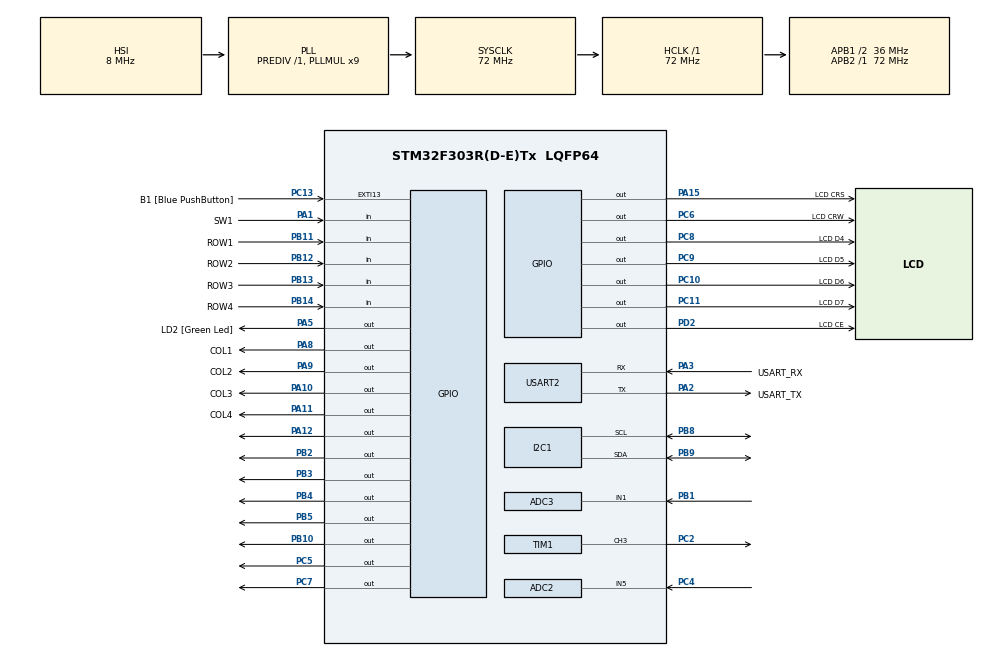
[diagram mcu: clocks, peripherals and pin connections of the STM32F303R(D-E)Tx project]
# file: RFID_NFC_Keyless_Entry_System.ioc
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ADC2.AWD1HighThreshold=4095
ADC2.AWD1ITMode=ENABLE
ADC2.AWD1LowThreshold=400
ADC2.Channel-0\#ChannelRegularConversion=ADC_CHANNEL_5
ADC2.ContinuousConvMode=ENABLE
ADC2.EnableAnalogWatchDog1=true
ADC2.NbrOfConversionFlag=1
ADC2.Offset-0\#ChannelRegularConversion=0
ADC2.OffsetNumber-0\#ChannelRegularConversion=ADC_OFFSET_NONE
ADC2.Rank-0\#ChannelRegularConversion=1
ADC2.SamplingTime-0\#ChannelRegularConversion=ADC_SAMPLETIME_1CYCLE_5
ADC2.SamplingTimeOPAMP-0\#ChannelRegularConversion=ADC_SAMPLETIME_61CYCLES_5
ADC2.WatchdogChannel=ADC_CHANNEL_5
ADC3.AWD1HighThreshold=4095
ADC3.AWD1ITMode=ENABLE
ADC3.AWD1LowThreshold=400
ADC3.Channel-0\#ChannelRegularConversion=ADC_CHANNEL_1
ADC3.ContinuousConvMode=ENABLE
ADC3.EnableAnalogWatchDog1=true
ADC3.EnableAnalogWatchDog2=false
ADC3.NbrOfConversionFlag=1
ADC3.Offset-0\#ChannelRegularConversion=0
ADC3.OffsetNumber-0\#ChannelRegularConversion=ADC_OFFSET_NONE
ADC3.Rank-0\#ChannelRegularConversion=1
ADC3.SamplingTime-0\#ChannelRegularConversion=ADC_SAMPLETIME_1CYCLE_5
ADC3.SamplingTimeOPAMP-0\#ChannelRegularConversion=ADC_SAMPLETIME_61CYCLES_5
ADC3.master=1
I2C1.Timing=0x00201D2B
Mcu.Family=STM32F3
Mcu.Name=STM32F303R(D-E)Tx
Mcu.Package=LQFP64
NVIC.ADC1_2_IRQn=true\:0\:0\:false\:false\:true\:true\:true\:true
NVIC.ADC3_IRQn=true\:0\:0\:false\:false\:true\:true\:true\:true
NVIC.PriorityGroup=NVIC_PRIORITYGROUP_0
PA1.GPIO_Label=SW1
PA1.Signal=GPIO_Input
PA10.GPIO_Label=COL3
PA10.Signal=GPIO_Output
PA11.GPIO_Label=COL4
PA11.GPIO_PuPd=GPIO_NOPULL
PA11.Signal=GPIO_Output
PA12.GPIO_PuPd=GPIO_NOPULL
PA12.Signal=GPIO_Output
PA13.GPIO_Label=TMS
PA13.Mode=Serial_Wire
PA13.Signal=SYS_JTMS-SWDIO
PA14.GPIO_Label=TCK
PA14.Mode=Serial_Wire
PA14.Signal=SYS_JTCK-SWCLK
PA15.GPIO_Label=LCD CRS
PA15.Signal=GPIO_Output
PA2.GPIO_Label=USART_TX
PA2.GPIO_Mode=GPIO_MODE_AF_PP
PA2.GPIO_PuPd=GPIO_NOPULL
PA2.GPIO_Speed=GPIO_SPEED_FREQ_LOW
PA2.Mode=Asynchronous
PA2.Signal=USART2_TX
PA3.GPIO_Label=USART_RX
PA3.GPIO_Mode=GPIO_MODE_AF_PP
PA3.GPIO_PuPd=GPIO_NOPULL
PA3.GPIO_Speed=GPIO_SPEED_FREQ_LOW
PA3.Mode=Asynchronous
PA3.Signal=USART2_RX
PA5.GPIO_Label=LD2 [Green Led]
PA5.GPIO_Mode=GPIO_MODE_OUTPUT_PP
PA5.GPIO_PuPd=GPIO_NOPULL
PA5.GPIO_Speed=GPIO_SPEED_FREQ_LOW
PA5.Signal=GPIO_Output
PA8.GPIO_Label=COL1
PA8.Signal=GPIO_Output
PA9.GPIO_Label=COL2
PA9.Signal=GPIO_Output
PB1.Mode=IN1-Single-Ended
PB1.Signal=ADC3_IN1
PB10.Signal=GPIO_Output
PB11.GPIO_Label=ROW1
PB11.GPIO_PuPd=GPIO_PULLDOWN
PB11.Signal=GPIO_Input
PB12.GPIO_Label=ROW2
PB12.GPIO_PuPd=GPIO_PULLDOWN
PB12.Signal=GPIO_Input
PB13.GPIO_Label=ROW3
PB13.GPIO_PuPd=GPIO_PULLDOWN
PB13.Signal=GPIO_Input
PB14.GPIO_Label=ROW4
PB14.GPIO_PuPd=GPIO_PULLDOWN
PB14.Signal=GPIO_Input
PB2.Signal=GPIO_Output
PB3.Signal=GPIO_Output
PB4.Signal=GPIO_Output
PB5.Signal=GPIO_Output
PB8.Mode=I2C
PB8.Signal=I2C1_SCL
PB9.Mode=I2C
PB9.Signal=I2C1_SDA
PC10.GPIO_Label=LCD D6
PC10.Signal=GPIO_Output
PC11.GPIO_Label=LCD D7
PC11.Signal=GPIO_Output
PC13.GPIO_Label=B1 [Blue PushButton]
PC13.GPIO_ModeDefaultEXTI=GPIO_MODE_IT_FALLING
PC13.Signal=GPXTI13
PC14-OSC32_IN.Mode=LSE-External-Oscillator
PC14-OSC32_IN.Signal=RCC_OSC32_IN
PC15-OSC32_OUT.Mode=LSE-External-Oscillator
PC15-OSC32_OUT.Signal=RCC_OSC32_OUT
PC2.Signal=S_TIM1_CH3
PC4.Mode=IN5-Single-Ended
PC4.Signal=ADC2_IN5
PC5.Signal=GPIO_Output
PC6.GPIO_Label=LCD CRW
PC6.Signal=GPIO_Output
PC7.Signal=GPIO_Output
PC8.GPIO_Label=LCD D4
PC8.Signal=GPIO_Output
PC9.GPIO_Label=LCD D5
PC9.Signal=GPIO_Output
PD2.GPIO_Label=LCD CE
PD2.Signal=GPIO_Output
PF0-OSC_IN.Mode=HSE-External-Clock-Source
PF0-OSC_IN.Signal=RCC_OSC_IN
PF1-OSC_OUT.Signal=RCC_OSC_OUT
ProjectManager.HeapSize=0x200
ProjectManager.StackSize=0x400
ProjectManager.TargetToolchain=STM32CubeIDE
RCC.AHBFreq_Value=72000000
RCC.APB1CLKDivider=RCC_HCLK_DIV2
RCC.APB1Freq_Value=36000000
RCC.APB1TimFreq_Value=72000000
RCC.APB2Freq_Value=72000000
RCC.APB2TimFreq_Value=72000000
RCC.CortexFreq_Value=72000000
RCC.HCLKFreq_Value=72000000
RCC.HSE_VALUE=8000000
RCC.HSI_VALUE=8000000
RCC.PLLM=8
RCC.PLLMUL=RCC_PLL_MUL9
RCC.PLLN=336
RCC.PLLP=RCC_PLLP_DIV4
RCC.PLLQ=7
RCC.RCC_PLLsource_Clock_Source_FROM_HSE=RCC_HSE_PREDIV_DIV2
RCC.SYSCLKFreq_VALUE=72000000
RCC.SYSCLKSourceVirtual=RCC_SYSCLKSOURCE_PLLCLK
RCC.USBFreq_Value=72000000
SH.S_TIM1_CH3.0=TIM1_CH3,PWM Generation3 CH3
TIM1.Channel-PWM\ Generation3\ CH3=TIM_CHANNEL_3
TIM1.Period=499
TIM1.Prescaler=71
TIM1.Pulse-PWM\ Generation3\ CH3=250
USART2.VirtualMode-Asynchronous=VM_ASYNC
VP_TIM1_VS_ClockSourceINT.Mode=Internal
board=NUCLEO-F303RE

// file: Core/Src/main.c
/* USER CODE BEGIN Header */
/**
  ******************************************************************************
  * @file           : main.c
  * @brief          : Main program body
  ******************************************************************************
  * @attention
  *
  * Copyright (c) 2026 STMicroelectronics.
  * All rights reserved.
  *
  * This software is licensed under terms that can be found in the LICENSE file
  * in the root directory of this software component.
  * If no LICENSE file comes with this software, it is provided AS-IS.
  *
  ******************************************************************************
  */
/* USER CODE END Header */
#include "main.h"

/* USER CODE BEGIN Includes */
#include "keypad.h"
#include "lcd.h"
#include "coast.h"
#include "debounce.h"
#include "pn532.h"
#include "access_control.h"
#include "admin_menu.h"
#include "door_control.h"
#include "management_config.h"
#include <stdio.h>
#include "signalling.h"
#include "door.h"
#include "ldr.h"
#include "clock.h"
#include "schedule.h"
/* USER CODE END Includes */

/* USER CODE BEGIN PTD */

typedef enum {
	OVERRIDE_TRANSIT_NONE = 0,
	OVERRIDE_TRANSIT_FROM_OUTSIDE,
	OVERRIDE_TRANSIT_FROM_INSIDE
} OverrideTransitDirection_t;

/* USER CODE END PTD */

/* USER CODE BEGIN PD */

#define LDR_COVERED_THRESHOLD 400U

/* USER CODE END PD */

ADC_HandleTypeDef hadc2;
ADC_HandleTypeDef hadc3;

I2C_HandleTypeDef hi2c1;

TIM_HandleTypeDef htim1;

UART_HandleTypeDef huart2;

/* USER CODE BEGIN PV */
uint8_t cardUID[10];
uint8_t cardUIDLength;
bool cardWasPresent;
volatile bool ldr1_covered = false; // Flag for ADC3 Watchdog
volatile bool ldr2_covered = false; // Flag for ADC2 Watchdog

volatile int entry_in_progress = 0;
volatile int exit_in_progress = 0;
volatile bool pending_authorized_entry = false;
static OverrideTransitDirection_t overrideTransitDirection = OVERRIDE_TRANSIT_NONE;
static bool overrideLdr1Latched = false;
static bool overrideLdr2Latched = false;
static uint32_t lastRtcPrintAt = 0U;
volatile bool unauthorised_sequence = false;

/* USER CODE END PV */

void SystemClock_Config(void);
static void MX_GPIO_Init(void);
static void MX_USART2_UART_Init(void);
static void MX_I2C1_Init(void);
static void MX_TIM1_Init(void);
static void MX_ADC2_Init(void);
static void MX_ADC3_Init(void);
/* USER CODE BEGIN PFP */
void Handle_NFC_Entry(void);
void Handle_Exit(void);
void Handle_Admin_Menu(void);
/* USER CODE END PFP */

int main(void)
{

  /* MCU Configuration--------------------------------------------------------*/

  /* Reset of all peripherals, Initializes the Flash interface and the Systick. */
  HAL_Init();

  /* Configure the system clock */
  SystemClock_Config();

  /* Initialize all configured peripherals */
  MX_GPIO_Init();
  MX_USART2_UART_Init();
  MX_I2C1_Init();
  MX_TIM1_Init();
  MX_ADC2_Init();
  MX_ADC3_Init();
  /* USER CODE BEGIN 2 */
  if (PN532_Begin()) {
	  uint8_t msg[] = "PN532 Connected Successfully!\r\n";
	  HAL_UART_Transmit(&huart2, msg, sizeof(msg) - 1, HAL_MAX_DELAY);
  } else {
	  // If it fails, trap the code here forever and continuously transmit the error.
	  uint8_t err_msg[] = "ERROR: NFC Not Connected or Wiring Issue!\r\n";
	  while (1) {
		  HAL_UART_Transmit(&huart2, err_msg, sizeof(err_msg) - 1, HAL_MAX_DELAY);
		  HAL_Delay(500);
	  }
  }
	Door_Init();
	Signalling_Init();
	ManagementConfig_Init();
	AdminMenu_Init();
	coast_lcd_init();
	Schedule_Init();
	if (Clock_Init()) {
		ClockTime_t now;
		char rtcMessage[24];
		if (Clock_GetTime(&now)) {
			int length = snprintf(rtcMessage, sizeof(rtcMessage),
					"RTC %02u:%02u:%02u\r\n", now.hour, now.minute, now.second);
			HAL_UART_Transmit(&huart2, (uint8_t *)rtcMessage, (uint16_t)length, HAL_MAX_DELAY);
		}
	} else {
		uint8_t rtcError[] = "ERROR: RTC initialization failed!\r\n";
		HAL_UART_Transmit(&huart2, rtcError, sizeof(rtcError) - 1U, HAL_MAX_DELAY);
	}

	// WATCHDOG INTERRUPTS
	HAL_ADC_Start(&hadc2);
	HAL_ADC_Start(&hadc3);
  /* USER CODE END 2 */

  /* Infinite loop */
  while (1)
  {

    /* USER CODE BEGIN 3 */
	  if ((HAL_GetTick() - lastRtcPrintAt) >= 1000U) {
		char rtcMessage[24];
		ClockTime_t now;

		lastRtcPrintAt = HAL_GetTick();
		if (Clock_GetTime(&now)) {
			int length = snprintf(rtcMessage, sizeof(rtcMessage),
					"RTC %02u:%02u:%02u\r\n",
					(unsigned int)now.hour,
					(unsigned int)now.minute,
					(unsigned int)now.second);
			HAL_UART_Transmit(&huart2, (uint8_t *)rtcMessage, (uint16_t)length, HAL_MAX_DELAY);
		}
	  }

	  Handle_NFC_Entry();
	  Handle_Exit();
	  Handle_Admin_Menu();
	  Schedule_Update();
	  Signalling_RunTask();

  }
  /* USER CODE END 3 */
}

void SystemClock_Config(void)
{
  RCC_OscInitTypeDef RCC_OscInitStruct = {0};
  RCC_ClkInitTypeDef RCC_ClkInitStruct = {0};
  RCC_PeriphCLKInitTypeDef PeriphClkInit = {0};

  /** Initializes the RCC Oscillators according to the specified parameters
  * in the RCC_OscInitTypeDef structure.
  */
  RCC_OscInitStruct.OscillatorType = RCC_OSCILLATORTYPE_HSI|RCC_OSCILLATORTYPE_LSI;
  RCC_OscInitStruct.HSIState = RCC_HSI_ON;
  RCC_OscInitStruct.HSICalibrationValue = RCC_HSICALIBRATION_DEFAULT;
  RCC_OscInitStruct.LSIState = RCC_LSI_ON;
  RCC_OscInitStruct.PLL.PLLState = RCC_PLL_ON;
  RCC_OscInitStruct.PLL.PLLSource = RCC_PLLSOURCE_HSI;
  RCC_OscInitStruct.PLL.PLLMUL = RCC_PLL_MUL9;
  RCC_OscInitStruct.PLL.PREDIV = RCC_PREDIV_DIV1;
  if (HAL_RCC_OscConfig(&RCC_OscInitStruct) != HAL_OK)
  {
    Error_Handler();
  }

  /** Initializes the CPU, AHB and APB buses clocks
  */
  RCC_ClkInitStruct.ClockType = RCC_CLOCKTYPE_HCLK|RCC_CLOCKTYPE_SYSCLK
                              |RCC_CLOCKTYPE_PCLK1|RCC_CLOCKTYPE_PCLK2;
  RCC_ClkInitStruct.SYSCLKSource = RCC_SYSCLKSOURCE_PLLCLK;
  RCC_ClkInitStruct.AHBCLKDivider = RCC_SYSCLK_DIV1;
  RCC_ClkInitStruct.APB1CLKDivider = RCC_HCLK_DIV2;
  RCC_ClkInitStruct.APB2CLKDivider = RCC_HCLK_DIV1;

  if (HAL_RCC_ClockConfig(&RCC_ClkInitStruct, FLASH_LATENCY_2) != HAL_OK)
  {
    Error_Handler();
  }
  PeriphClkInit.PeriphClockSelection = RCC_PERIPHCLK_USART2|RCC_PERIPHCLK_I2C1
                              |RCC_PERIPHCLK_TIM1|RCC_PERIPHCLK_ADC12
                              |RCC_PERIPHCLK_ADC34|RCC_PERIPHCLK_RTC;
  PeriphClkInit.Usart2ClockSelection = RCC_USART2CLKSOURCE_PCLK1;
  PeriphClkInit.Adc12ClockSelection = RCC_ADC12PLLCLK_DIV1;
  PeriphClkInit.Adc34ClockSelection = RCC_ADC34PLLCLK_DIV1;
  PeriphClkInit.I2c1ClockSelection = RCC_I2C1CLKSOURCE_HSI;
  PeriphClkInit.Tim1ClockSelection = RCC_TIM1CLK_HCLK;
  PeriphClkInit.RTCClockSelection = RCC_RTCCLKSOURCE_LSI;
  if (HAL_RCCEx_PeriphCLKConfig(&PeriphClkInit) != HAL_OK)
  {
    Error_Handler();
  }
}

static void MX_ADC2_Init(void)
{

  ADC_AnalogWDGConfTypeDef AnalogWDGConfig = {0};
  ADC_ChannelConfTypeDef sConfig = {0};

  /** Common config
  */
  hadc2.Instance = ADC2;
  hadc2.Init.ClockPrescaler = ADC_CLOCK_ASYNC_DIV1;
  hadc2.Init.Resolution = ADC_RESOLUTION_12B;
  hadc2.Init.ScanConvMode = ADC_SCAN_DISABLE;
  hadc2.Init.ContinuousConvMode = ENABLE;
  hadc2.Init.DiscontinuousConvMode = DISABLE;
  hadc2.Init.ExternalTrigConvEdge = ADC_EXTERNALTRIGCONVEDGE_NONE;
  hadc2.Init.ExternalTrigConv = ADC_SOFTWARE_START;
  hadc2.Init.DataAlign = ADC_DATAALIGN_RIGHT;
  hadc2.Init.NbrOfConversion = 1;
  hadc2.Init.DMAContinuousRequests = DISABLE;
  hadc2.Init.EOCSelection = ADC_EOC_SINGLE_CONV;
  hadc2.Init.LowPowerAutoWait = DISABLE;
  hadc2.Init.Overrun = ADC_OVR_DATA_OVERWRITTEN;
  if (HAL_ADC_Init(&hadc2) != HAL_OK)
  {
    Error_Handler();
  }

  /** Configure Analog WatchDog 1
  */
  AnalogWDGConfig.WatchdogNumber = ADC_ANALOGWATCHDOG_1;
  AnalogWDGConfig.WatchdogMode = ADC_ANALOGWATCHDOG_SINGLE_REG;
  AnalogWDGConfig.HighThreshold = 4095;
  AnalogWDGConfig.LowThreshold = 400;
  AnalogWDGConfig.Channel = ADC_CHANNEL_5;
  AnalogWDGConfig.ITMode = ENABLE;
  if (HAL_ADC_AnalogWDGConfig(&hadc2, &AnalogWDGConfig) != HAL_OK)
  {
    Error_Handler();
  }

  /** Configure Regular Channel
  */
  sConfig.Channel = ADC_CHANNEL_5;
  sConfig.Rank = ADC_REGULAR_RANK_1;
  sConfig.SingleDiff = ADC_SINGLE_ENDED;
  sConfig.SamplingTime = ADC_SAMPLETIME_1CYCLE_5;
  sConfig.OffsetNumber = ADC_OFFSET_NONE;
  sConfig.Offset = 0;
  if (HAL_ADC_ConfigChannel(&hadc2, &sConfig) != HAL_OK)
  {
    Error_Handler();
  }

}

static void MX_ADC3_Init(void)
{

  ADC_MultiModeTypeDef multimode = {0};
  ADC_AnalogWDGConfTypeDef AnalogWDGConfig = {0};
  ADC_ChannelConfTypeDef sConfig = {0};

  /** Common config
  */
  hadc3.Instance = ADC3;
  hadc3.Init.ClockPrescaler = ADC_CLOCK_ASYNC_DIV1;
  hadc3.Init.Resolution = ADC_RESOLUTION_12B;
  hadc3.Init.ScanConvMode = ADC_SCAN_DISABLE;
  hadc3.Init.ContinuousConvMode = ENABLE;
  hadc3.Init.DiscontinuousConvMode = DISABLE;
  hadc3.Init.ExternalTrigConvEdge = ADC_EXTERNALTRIGCONVEDGE_NONE;
  hadc3.Init.ExternalTrigConv = ADC_SOFTWARE_START;
  hadc3.Init.DataAlign = ADC_DATAALIGN_RIGHT;
  hadc3.Init.NbrOfConversion = 1;
  hadc3.Init.DMAContinuousRequests = DISABLE;
  hadc3.Init.EOCSelection = ADC_EOC_SINGLE_CONV;
  hadc3.Init.LowPowerAutoWait = DISABLE;
  hadc3.Init.Overrun = ADC_OVR_DATA_OVERWRITTEN;
  if (HAL_ADC_Init(&hadc3) != HAL_OK)
  {
    Error_Handler();
  }

  /** Configure the ADC multi-mode
  */
  multimode.Mode = ADC_MODE_INDEPENDENT;
  if (HAL_ADCEx_MultiModeConfigChannel(&hadc3, &multimode) != HAL_OK)
  {
    Error_Handler();
  }

  /** Configure Analog WatchDog 1
  */
  AnalogWDGConfig.WatchdogNumber = ADC_ANALOGWATCHDOG_1;
  AnalogWDGConfig.WatchdogMode = ADC_ANALOGWATCHDOG_SINGLE_REG;
  AnalogWDGConfig.HighThreshold = 4095;
  AnalogWDGConfig.LowThreshold = 400;
  AnalogWDGConfig.Channel = ADC_CHANNEL_1;
  AnalogWDGConfig.ITMode = ENABLE;
  if (HAL_ADC_AnalogWDGConfig(&hadc3, &AnalogWDGConfig) != HAL_OK)
  {
    Error_Handler();
  }

  /** Configure Regular Channel
  */
  sConfig.Channel = ADC_CHANNEL_1;
  sConfig.Rank = ADC_REGULAR_RANK_1;
  sConfig.SingleDiff = ADC_SINGLE_ENDED;
  sConfig.SamplingTime = ADC_SAMPLETIME_1CYCLE_5;
  sConfig.OffsetNumber = ADC_OFFSET_NONE;
  sConfig.Offset = 0;
  if (HAL_ADC_ConfigChannel(&hadc3, &sConfig) != HAL_OK)
  {
    Error_Handler();
  }

}

static void MX_I2C1_Init(void)
{

  hi2c1.Instance = I2C1;
  hi2c1.Init.Timing = 0x00201D2B;
  hi2c1.Init.OwnAddress1 = 0;
  hi2c1.Init.AddressingMode = I2C_ADDRESSINGMODE_7BIT;
  hi2c1.Init.DualAddressMode = I2C_DUALADDRESS_DISABLE;
  hi2c1.Init.OwnAddress2 = 0;
  hi2c1.Init.OwnAddress2Masks = I2C_OA2_NOMASK;
  hi2c1.Init.GeneralCallMode = I2C_GENERALCALL_DISABLE;
  hi2c1.Init.NoStretchMode = I2C_NOSTRETCH_DISABLE;
  if (HAL_I2C_Init(&hi2c1) != HAL_OK)
  {
    Error_Handler();
  }

  /** Configure Analogue filter
  */
  if (HAL_I2CEx_ConfigAnalogFilter(&hi2c1, I2C_ANALOGFILTER_ENABLE) != HAL_OK)
  {
    Error_Handler();
  }

  /** Configure Digital filter
  */
  if (HAL_I2CEx_ConfigDigitalFilter(&hi2c1, 0) != HAL_OK)
  {
    Error_Handler();
  }

}

static void MX_TIM1_Init(void)
{

  TIM_ClockConfigTypeDef sClockSourceConfig = {0};
  TIM_MasterConfigTypeDef sMasterConfig = {0};
  TIM_OC_InitTypeDef sConfigOC = {0};
  TIM_BreakDeadTimeConfigTypeDef sBreakDeadTimeConfig = {0};

  htim1.Instance = TIM1;
  htim1.Init.Prescaler = 71;
  htim1.Init.CounterMode = TIM_COUNTERMODE_UP;
  htim1.Init.Period = 499;
  htim1.Init.ClockDivision = TIM_CLOCKDIVISION_DIV1;
  htim1.Init.RepetitionCounter = 0;
  htim1.Init.AutoReloadPreload = TIM_AUTORELOAD_PRELOAD_DISABLE;
  if (HAL_TIM_Base_Init(&htim1) != HAL_OK)
  {
    Error_Handler();
  }
  sClockSourceConfig.ClockSource = TIM_CLOCKSOURCE_INTERNAL;
  if (HAL_TIM_ConfigClockSource(&htim1, &sClockSourceConfig) != HAL_OK)
  {
    Error_Handler();
  }
  if (HAL_TIM_PWM_Init(&htim1) != HAL_OK)
  {
    Error_Handler();
  }
  sMasterConfig.MasterOutputTrigger = TIM_TRGO_RESET;
  sMasterConfig.MasterOutputTrigger2 = TIM_TRGO2_RESET;
  sMasterConfig.MasterSlaveMode = TIM_MASTERSLAVEMODE_DISABLE;
  if (HAL_TIMEx_MasterConfigSynchronization(&htim1, &sMasterConfig) != HAL_OK)
  {
    Error_Handler();
  }
  sConfigOC.OCMode = TIM_OCMODE_PWM1;
  sConfigOC.Pulse = 250;
  sConfigOC.OCPolarity = TIM_OCPOLARITY_HIGH;
  sConfigOC.OCNPolarity = TIM_OCNPOLARITY_HIGH;
  sConfigOC.OCFastMode = TIM_OCFAST_DISABLE;
  sConfigOC.OCIdleState = TIM_OCIDLESTATE_RESET;
  sConfigOC.OCNIdleState = TIM_OCNIDLESTATE_RESET;
  if (HAL_TIM_PWM_ConfigChannel(&htim1, &sConfigOC, TIM_CHANNEL_3) != HAL_OK)
  {
    Error_Handler();
  }
  sBreakDeadTimeConfig.OffStateRunMode = TIM_OSSR_DISABLE;
  sBreakDeadTimeConfig.OffStateIDLEMode = TIM_OSSI_DISABLE;
  sBreakDeadTimeConfig.LockLevel = TIM_LOCKLEVEL_OFF;
  sBreakDeadTimeConfig.DeadTime = 0;
  sBreakDeadTimeConfig.BreakState = TIM_BREAK_DISABLE;
  sBreakDeadTimeConfig.BreakPolarity = TIM_BREAKPOLARITY_HIGH;
  sBreakDeadTimeConfig.BreakFilter = 0;
  sBreakDeadTimeConfig.Break2State = TIM_BREAK2_DISABLE;
  sBreakDeadTimeConfig.Break2Polarity = TIM_BREAK2POLARITY_HIGH;
  sBreakDeadTimeConfig.Break2Filter = 0;
  sBreakDeadTimeConfig.AutomaticOutput = TIM_AUTOMATICOUTPUT_DISABLE;
  if (HAL_TIMEx_ConfigBreakDeadTime(&htim1, &sBreakDeadTimeConfig) != HAL_OK)
  {
    Error_Handler();
  }
  HAL_TIM_MspPostInit(&htim1);

}

static void MX_USART2_UART_Init(void)
{

  huart2.Instance = USART2;
  huart2.Init.BaudRate = 38400;
  huart2.Init.WordLength = UART_WORDLENGTH_8B;
  huart2.Init.StopBits = UART_STOPBITS_1;
  huart2.Init.Parity = UART_PARITY_NONE;
  huart2.Init.Mode = UART_MODE_TX_RX;
  huart2.Init.HwFlowCtl = UART_HWCONTROL_NONE;
  huart2.Init.OverSampling = UART_OVERSAMPLING_16;
  huart2.Init.OneBitSampling = UART_ONE_BIT_SAMPLE_DISABLE;
  huart2.AdvancedInit.AdvFeatureInit = UART_ADVFEATURE_NO_INIT;
  if (HAL_UART_Init(&huart2) != HAL_OK)
  {
    Error_Handler();
  }

}

static void MX_GPIO_Init(void)
{
  GPIO_InitTypeDef GPIO_InitStruct = {0};

  /* GPIO Ports Clock Enable */
  __HAL_RCC_GPIOC_CLK_ENABLE();
  __HAL_RCC_GPIOF_CLK_ENABLE();
  __HAL_RCC_GPIOA_CLK_ENABLE();
  __HAL_RCC_GPIOB_CLK_ENABLE();
  __HAL_RCC_GPIOD_CLK_ENABLE();

  /*Configure GPIO pin Output Level */
  HAL_GPIO_WritePin(GPIOA, LD2_Pin|COL1_Pin|COL2_Pin|COL3_Pin
                          |COL4_Pin|GPIO_PIN_12|LCD_CRS_Pin, GPIO_PIN_RESET);

  /*Configure GPIO pin Output Level */
  HAL_GPIO_WritePin(GPIOC, GPIO_PIN_5|LCD_CRW_Pin|GPIO_PIN_7|LCD_D4_Pin
                          |LCD_D5_Pin|LCD_D6_Pin|LCD_D7_Pin, GPIO_PIN_RESET);

  /*Configure GPIO pin Output Level */
  HAL_GPIO_WritePin(GPIOB, GPIO_PIN_2|GPIO_PIN_10|GPIO_PIN_3|GPIO_PIN_4
                          |GPIO_PIN_5, GPIO_PIN_RESET);

  /*Configure GPIO pin Output Level */
  HAL_GPIO_WritePin(LCD_CE_GPIO_Port, LCD_CE_Pin, GPIO_PIN_RESET);

  /*Configure GPIO pin : B1_Pin */
  GPIO_InitStruct.Pin = B1_Pin;
  GPIO_InitStruct.Mode = GPIO_MODE_IT_FALLING;
  GPIO_InitStruct.Pull = GPIO_NOPULL;
  HAL_GPIO_Init(B1_GPIO_Port, &GPIO_InitStruct);

  /*Configure GPIO pin : SW1_Pin */
  GPIO_InitStruct.Pin = SW1_Pin;
  GPIO_InitStruct.Mode = GPIO_MODE_INPUT;
  GPIO_InitStruct.Pull = GPIO_NOPULL;
  HAL_GPIO_Init(SW1_GPIO_Port, &GPIO_InitStruct);

  /*Configure GPIO pins : LD2_Pin COL1_Pin COL2_Pin COL3_Pin
                           COL4_Pin PA12 LCD_CRS_Pin */
  GPIO_InitStruct.Pin = LD2_Pin|COL1_Pin|COL2_Pin|COL3_Pin
                          |COL4_Pin|GPIO_PIN_12|LCD_CRS_Pin;
  GPIO_InitStruct.Mode = GPIO_MODE_OUTPUT_PP;
  GPIO_InitStruct.Pull = GPIO_NOPULL;
  GPIO_InitStruct.Speed = GPIO_SPEED_FREQ_LOW;
  HAL_GPIO_Init(GPIOA, &GPIO_InitStruct);

  /*Configure GPIO pins : PC5 LCD_CRW_Pin PC7 LCD_D4_Pin
                           LCD_D5_Pin LCD_D6_Pin LCD_D7_Pin */
  GPIO_InitStruct.Pin = GPIO_PIN_5|LCD_CRW_Pin|GPIO_PIN_7|LCD_D4_Pin
                          |LCD_D5_Pin|LCD_D6_Pin|LCD_D7_Pin;
  GPIO_InitStruct.Mode = GPIO_MODE_OUTPUT_PP;
  GPIO_InitStruct.Pull = GPIO_NOPULL;
  GPIO_InitStruct.Speed = GPIO_SPEED_FREQ_LOW;
  HAL_GPIO_Init(GPIOC, &GPIO_InitStruct);

  /*Configure GPIO pins : PB2 PB10 PB3 PB4
                           PB5 */
  GPIO_InitStruct.Pin = GPIO_PIN_2|GPIO_PIN_10|GPIO_PIN_3|GPIO_PIN_4
                          |GPIO_PIN_5;
  GPIO_InitStruct.Mode = GPIO_MODE_OUTPUT_PP;
  GPIO_InitStruct.Pull = GPIO_NOPULL;
  GPIO_InitStruct.Speed = GPIO_SPEED_FREQ_LOW;
  HAL_GPIO_Init(GPIOB, &GPIO_InitStruct);

  /*Configure GPIO pins : ROW1_Pin ROW2_Pin ROW3_Pin ROW4_Pin */
  GPIO_InitStruct.Pin = ROW1_Pin|ROW2_Pin|ROW3_Pin|ROW4_Pin;
  GPIO_InitStruct.Mode = GPIO_MODE_INPUT;
  GPIO_InitStruct.Pull = GPIO_PULLDOWN;
  HAL_GPIO_Init(GPIOB, &GPIO_InitStruct);

  /*Configure GPIO pin : LCD_CE_Pin */
  GPIO_InitStruct.Pin = LCD_CE_Pin;
  GPIO_InitStruct.Mode = GPIO_MODE_OUTPUT_PP;
  GPIO_InitStruct.Pull = GPIO_NOPULL;
  GPIO_InitStruct.Speed = GPIO_SPEED_FREQ_LOW;
  HAL_GPIO_Init(LCD_CE_GPIO_Port, &GPIO_InitStruct);

}

/* USER CODE BEGIN 4 */
bool Door_IsDoorwayClear(void)
{
	return (entry_in_progress == 0)
		&& (exit_in_progress == 0)
		&& (overrideTransitDirection == OVERRIDE_TRANSIT_NONE)
		&& !overrideLdr1Latched
		&& !overrideLdr2Latched
		&& !ldr1_covered
		&& !ldr2_covered;
}

void HAL_ADC_LevelOutOfWindowCallback(ADC_HandleTypeDef* hadc)
{
    // LDR 2 trigger (Exit)
    if (hadc->Instance == ADC2) {
        ldr1_covered = true;
        HAL_ADC_Stop(&hadc2);
    }

    // LDR 1 trigger (Entry)
    if (hadc->Instance == ADC3) {
        ldr2_covered = true;
        HAL_ADC_Stop(&hadc3);
    }
}

volatile bool software_door_open = false;
void Handle_NFC_Entry(void) {
	bool overrideActive = Door_IsAdministrativeOverrideActive();

	if (!overrideActive) {
		overrideTransitDirection = OVERRIDE_TRANSIT_NONE;
		overrideLdr1Latched = false;
		overrideLdr2Latched = false;
	} else {
		if (!ldr1_covered && HAL_ADC_GetValue(&hadc2) >= LDR_COVERED_THRESHOLD) {
			overrideLdr1Latched = false;
		}
		if (!ldr2_covered && HAL_ADC_GetValue(&hadc3) >= LDR_COVERED_THRESHOLD) {
			overrideLdr2Latched = false;
		}
	}

	if (PN532_ScanUID(cardUID, &cardUIDLength)) {
		if (!cardWasPresent) {

			/* TODO REMOVE LATER JUST FOR DEBUGGING */
			char uidStr[40];
			int pos = snprintf(uidStr, sizeof(uidStr), "UID: ");
			for (uint8_t i = 0; i < cardUIDLength; i++) {
				pos += snprintf(&uidStr[pos], sizeof(uidStr) - pos, "%02X", cardUID[i]);
			}
			pos += snprintf(&uidStr[pos], sizeof(uidStr) - pos, "\r\n");
			HAL_UART_Transmit(&huart2, (uint8_t *)uidStr, pos, HAL_MAX_DELAY);
			/* REMOVE LATER  */

			AccessRole_t role = AccessControl_IdentifyUID(cardUID, cardUIDLength);

			if (role == ACCESS_ROLE_ADMIN) {
				ManagementConfig_EnterAdminMode();
				AdminMenu_Enter();
				Indicator_Signal_Admin();
			}
			else if (role == ACCESS_ROLE_USER) {
				Indicator_Signal_Authorised();
				if (!overrideActive) {
					pending_authorized_entry = true;
				}
			} else {
				Door_ReportUnauthorizedCredential();
			}
		}
		cardWasPresent = true;
	} else {
		cardWasPresent = false;
	}

	if (overrideActive) {
		pending_authorized_entry = false;
	}

	// 2. Handle LDR1 - Outside Sensor
	if (ldr1_covered) {

		if (overrideActive) {
			if (!overrideLdr1Latched) {
				overrideLdr1Latched = true;
				if (exit_in_progress > 0) {
					exit_in_progress = 0;
					overrideTransitDirection = OVERRIDE_TRANSIT_NONE;
				} else if (overrideTransitDirection == OVERRIDE_TRANSIT_FROM_INSIDE) {
					/* Completed an inside-to-outside transit. */
					overrideTransitDirection = OVERRIDE_TRANSIT_NONE;
				} else if (overrideTransitDirection == OVERRIDE_TRANSIT_FROM_OUTSIDE) {
					/* Triggered LDR1 again after release: person retreated. */
					overrideTransitDirection = OVERRIDE_TRANSIT_NONE;
				} else if (overrideTransitDirection == OVERRIDE_TRANSIT_NONE) {
					overrideTransitDirection = OVERRIDE_TRANSIT_FROM_OUTSIDE;
				}
			}
		} else if (pending_authorized_entry && exit_in_progress == 0) {
			// Scanned valid card and stepped into door
			Door_OpenForEntry();
			software_door_open = true;

			entry_in_progress = 1;
			pending_authorized_entry = false;
			unauthorised_sequence = false;
		} else if (!pending_authorized_entry && exit_in_progress == 0) {
		    unauthorised_sequence = true;
		}
		else if (exit_in_progress > 0) {
			exit_in_progress = 0;

			Door_Close();
			software_door_open = false;
			Indicator_Signal_DoorClosed();
		}

		ldr1_covered = false;
		HAL_ADC_Start(&hadc2);
	}
}

void Handle_Exit(void)
{
	bool overrideActive = Door_IsAdministrativeOverrideActive();

	// 1. Handle LDR2 - Inside Sensor
	if (!overrideActive && unauthorised_sequence && ldr2_covered) {
	    Alarm_Trigger_Unauthorised();
	    unauthorised_sequence = false;
	} else if (ldr2_covered) {

		if (overrideActive) {
			if (!overrideLdr2Latched) {
				overrideLdr2Latched = true;
				if (entry_in_progress > 0) {
					entry_in_progress = 0;
					overrideTransitDirection = OVERRIDE_TRANSIT_NONE;
				} else if (overrideTransitDirection == OVERRIDE_TRANSIT_FROM_OUTSIDE) {
					/* Completed an outside-to-inside transit. */
					overrideTransitDirection = OVERRIDE_TRANSIT_NONE;
				} else if (overrideTransitDirection == OVERRIDE_TRANSIT_FROM_INSIDE) {
					/* Triggered LDR2 again after release: person retreated. */
					overrideTransitDirection = OVERRIDE_TRANSIT_NONE;
				} else if (overrideTransitDirection == OVERRIDE_TRANSIT_NONE) {
					overrideTransitDirection = OVERRIDE_TRANSIT_FROM_INSIDE;
				}
			}
		} else if (entry_in_progress > 0) {
			entry_in_progress = 0;

			Door_Close();
			software_door_open = false;
			Indicator_Signal_DoorClosed();
		}
		else if (exit_in_progress == 0 && entry_in_progress == 0) {
			Door_OpenForExit();
			software_door_open = true;

			exit_in_progress = 1;
		}

		ldr2_covered = false;
		HAL_ADC_Start(&hadc3);
	}

}

void Handle_Admin_Menu(void)
{
	if (ManagementConfig_IsAdminMode()) {
		uint8_t key = scan_keypad();
		AdminMenu_Update(key);
	}
}
/* USER CODE END 4 */

void Error_Handler(void)
{
  __disable_irq();
  while (1)
  {
  }
}
